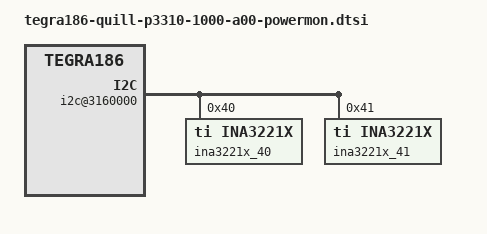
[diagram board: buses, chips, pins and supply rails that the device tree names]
/*
 * tegra186-quill-p3310-1000-a00-powermon.dtsi: Tegra186 power monitor
 *				dtsi file on Quill P3310
 *
 * Copyright (c) 2015-2016, NVIDIA CORPORATION.  All rights reserved.
 *
 * This program is free software; you can redistribute it and/or modify
 * it under the terms of the GNU General Public License as published by
 * the Free Software Foundation; version 2 of the License.
 *
 * This program is distributed in the hope that it will be useful, but WITHOUT
 * ANY WARRANTY; without even the implied warranty of MERCHANTABILITY or
 * FITNESS FOR A PARTICULAR PURPOSE.  See the GNU General Public License for
 * more details.
 */

/ {
	i2c@3160000 {
		ina3221x_40: ina3221x@40 {
			compatible = "ti,ina3221x";
			reg = <0x40>;
			ti,trigger-config = <0x7003>;
			ti,continuous-config = <0x7c07>;
			ti,enable-forced-continuous;
			#address-cells = <1>;
			#size-cells = <0>;
			channel@0 {
				reg = <0x0>;
				ti,rail-name = "VDD_SYS_GPU";
				ti,shunt-resistor-mohm = <5>;
			};
			channel@1 {
				reg = <0x1>;
				ti,rail-name = "VDD_SYS_SOC";
				ti,shunt-resistor-mohm = <5>;
			};
			channel@2 {
				reg = <0x2>;
				ti,rail-name = "VDD_4V0_WIFI";
				ti,shunt-resistor-mohm = <10>;
			};
		};
		ina3221x_41: ina3221x@41 {
			compatible = "ti,ina3221x";
			reg = <0x41>;
			ti,trigger-config = <0x7003>;
			ti,continuous-config = <0x7c07>;
			ti,enable-forced-continuous;
			#address-cells = <1>;
			#size-cells = <0>;
			channel@0 {
				reg = <0x0>;
				ti,rail-name = "VDD_IN";
				ti,shunt-resistor-mohm = <1>;
			};
			channel@1 {
				reg = <0x1>;
				ti,rail-name = "VDD_SYS_CPU";
				ti,shunt-resistor-mohm = <5>;
			};
			channel@2 {
				reg = <0x2>;
				ti,rail-name = "VDD_SYS_SRAM";
				ti,shunt-resistor-mohm = <5>;
			};
		};
	};
};
